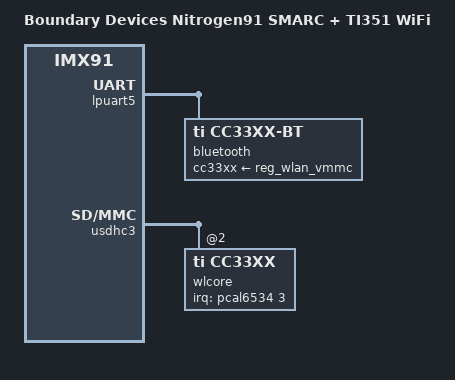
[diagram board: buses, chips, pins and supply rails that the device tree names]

// SPDX-License-Identifier: (GPL-2.0+ OR MIT)
/*
 * Copyright 2025 Ezurio LLC
 */

#include "imx91-nitrogen-smarc.dts"

/ {
	model = "Boundary Devices Nitrogen91 SMARC + TI351 WiFi";
	compatible = "ezurio,imx91-nitrogen-smarc-ti351", "fsl,imx91";
};

&lpuart5 {
	bluetooth {
		compatible = "ti,cc33xx-bt";
		cc33xx-supply = <&reg_wlan_vmmc>;
		max-speed = <115200>;
	};
};

&usdhc3 { /* WiFi / Bluetooth */
	max-frequency = <50000000>;
	cap-power-off-card;

	/delete-node/ wifi_wake_host;
	/delete-node/ wifi@1 ;

	wlcore: wlcore@2 {
		compatible = "ti,cc33xx";
		/* To use in-band SDIO interrupts remove the following line */
		interrupts-extended = <&pcal6534 3 IRQ_TYPE_EDGE_RISING>; /* SDIO_WAKE# */
		reg = <2>;
	};
};
